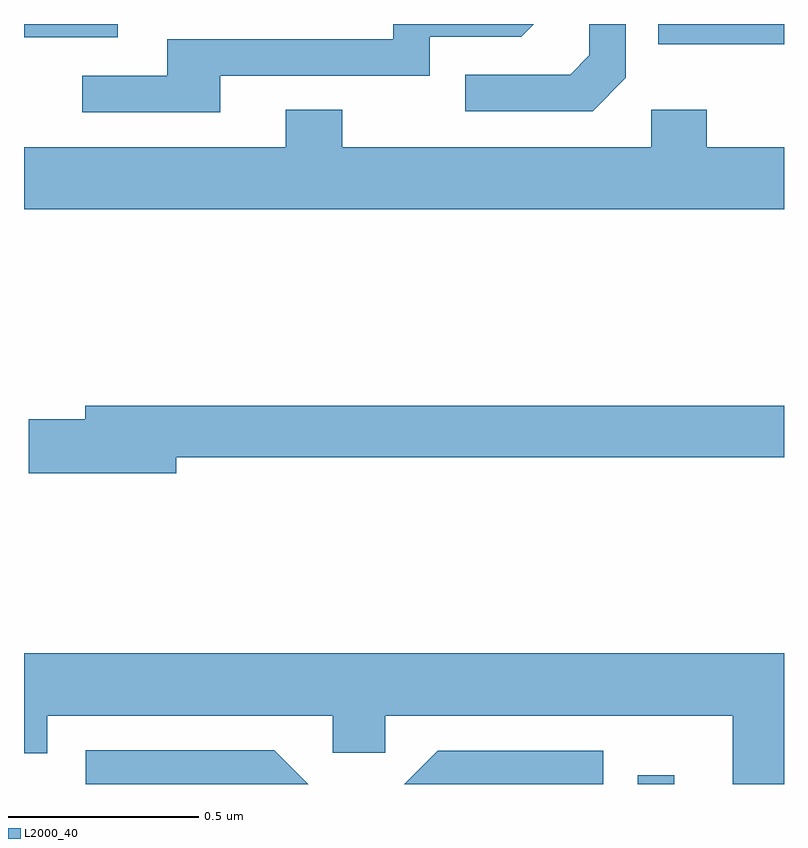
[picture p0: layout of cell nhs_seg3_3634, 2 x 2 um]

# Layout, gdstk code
import gdstk
lib = gdstk.Library(unit=1e-6, precision=1e-09)
def R(c, l, rs):  # rectangles x0, y0, x1, y1
    for r in rs: c.add(gdstk.rectangle(r[:2], r[2:], *l))
def P(c, l, *ps):  # polygons
    for p in ps: c.add(gdstk.Polygon(p, *l))
L2000_40 = (2000, 40)

nhs_seg3_3634 = lib.new_cell('nhs_seg3_3634')
R(nhs_seg3_3634, L2000_40, [(157.615,703.4,157.711,703.423), (157.669,705.347,158,705.4), (156,705.365,156.247,705.4)])
P(nhs_seg3_3634, L2000_40, [(156.517,705.264),(157.068,705.264),(157.068,705.366),(157.308,705.366),(157.342,705.4),(156.972,705.4),(156.972,705.36),(156.377,705.36),(156.377,705.264),(156.153,705.264),(156.153,705.168),(156.517,705.168)],
  [(157.584,705.258),(157.584,705.4),(157.488,705.4),(157.488,705.318),(157.437,705.267),(157.161,705.267),(157.161,705.171),(157.497,705.171)],
  [(158,705.076),(157.797,705.076),(157.797,705.175),(157.65,705.175),(157.65,705.076),(156.837,705.076),(156.837,705.175),(156.689,705.175),(156.689,705.076),(156,705.076),(156,704.912),(158,704.912)],
  [(156.4,704.26),(158,704.26),(158,704.396),(156.161,704.396),(156.161,704.36),(156.012,704.36),(156.012,704.218),(156.4,704.218)],
  [(158,703.744),(156,703.744),(156,703.481),(156.061,703.481),(156.061,703.58),(156.813,703.58),(156.813,703.482),(156.951,703.482),(156.951,703.58),(157.865,703.58),(157.865,703.4),(158,703.4)],
  [(156.659,703.489),(156.162,703.489),(156.162,703.4),(156.748,703.4)],
  [(157.524,703.488),(157.089,703.488),(157.001,703.4),(157.524,703.4)])

lib.write_gds('nhs_seg3_3634.gds')
